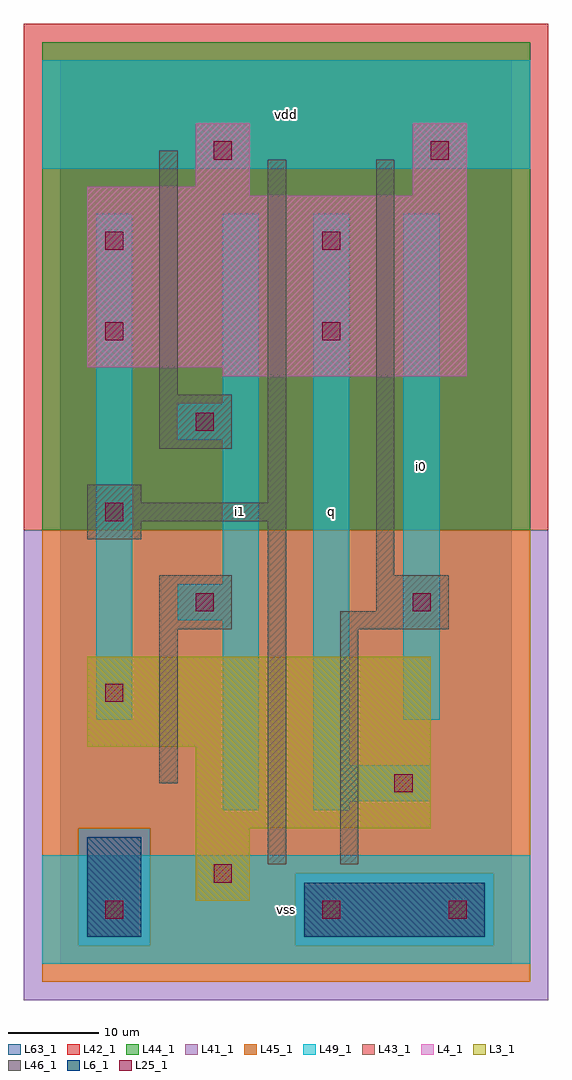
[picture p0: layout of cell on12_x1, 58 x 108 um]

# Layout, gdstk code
import gdstk
lib = gdstk.Library(unit=1e-6, precision=1e-09)
def R(c, l, rs):  # rectangles x0, y0, x1, y1
    for r in rs: c.add(gdstk.rectangle(r[:2], r[2:], *l))
def A(c, l, x, y, w, h, nx, ny, dx, dy):  # array of equal rectangles
    R(c, l, [(x+i*dx, y+j*dy, x+i*dx+w, y+j*dy+h) for i in range(nx) for j in range(ny)])
L3_1 = (3, 1)
L4_1 = (4, 1)
L6_1 = (6, 1)
L25_1 = (25, 1)
L41_1 = (41, 1)
L42_1 = (42, 1)
L43_1 = (43, 1)
L44_1 = (44, 1)
L45_1 = (45, 1)
L46_1 = (46, 1)
L49_1 = (49, 1)
L63_1 = (63, 1)

on12_x1 = lib.new_cell('on12_x1')
R(on12_x1, L3_1, [(15,7,21,15), (15,15,41,24), (3,24,41,34)])
R(on12_x1, L4_1, [(18,65,45,66), (3,66,45,85), (3,85,21,86), (39,85,45,93), (15,86,21,93)])
R(on12_x1, L6_1, [(3,3,9,14), (3,3,9,14), (27,3,47,9), (27,3,47,9)])
A(on12_x1, L25_1, 5, 29, 2, 2, 1, 3, 0, 20)
R(on12_x1, L25_1, [(5,5,7,7), (29,5,31,7), (43,5,45,7), (17,9,19,11), (37,19,39,21), (15,39,17,41), (39,39,41,41), (15,59,17,61), (29,69,31,71), (5,79,7,81), (29,79,31,81), (17,89,19,91), (41,89,43,91)])
R(on12_x1, L41_1, [(-4,-4,54,48)])
R(on12_x1, L42_1, [(-4,48,54,104)])
R(on12_x1, L43_1, [(3,3,9,14), (27,3,47,9), (15,7,21,15), (15,15,41,24), (3,24,41,34), (18,65,45,66), (3,66,45,85), (3,85,21,86), (39,85,45,93), (15,86,21,93)])
R(on12_x1, L44_1, [(2,2,10,15), (26,2,48,10), (-2,48,52,102)])
R(on12_x1, L45_1, [(-2,-2,52,2), (-2,2,2,15), (10,2,26,10), (48,2,52,10), (10,10,52,15), (-2,15,52,48)])
R(on12_x1, L46_1, [(23,11,25,49), (31,11,33,37), (11,20,13,37), (11,37,19,43), (31,37,43,39), (35,39,43,43), (35,43,37,89), (3,47,9,49), (3,49,25,51), (3,51,9,53), (23,51,25,89), (11,57,19,63), (11,63,13,90)])
R(on12_x1, L49_1, [(-2,0,52,12), (18,17,22,38), (28,17,32,18), (28,18,41,22), (28,22,32,83), (4,27,8,83), (38,27,42,83), (13,38,22,42), (18,42,22,58), (13,58,22,62), (18,62,22,83), (-2,88,52,100)])
R(on12_x1, L63_1, [(0,0,50,100)])
on12_x1.add(gdstk.Label('i1', (20,50), layer=49, texttype=1))
on12_x1.add(gdstk.Label('vss', (25,6), layer=49, texttype=1))
on12_x1.add(gdstk.Label('q', (30,50), layer=49, texttype=1))
on12_x1.add(gdstk.Label('vdd', (25,94), layer=49, texttype=1))
on12_x1.add(gdstk.Label('i0', (40,55), layer=49, texttype=1))

lib.write_gds('on12_x1.gds')
